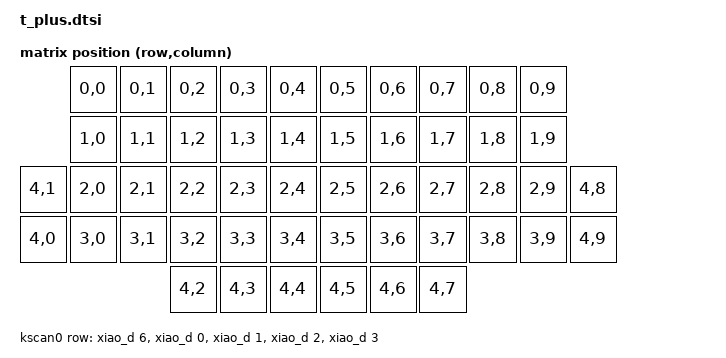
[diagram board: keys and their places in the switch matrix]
/*
 * Copyright (c) 2022 The ZMK Contributors
 *
 * SPDX-License-Identifier: MIT
 */

#include <dt-bindings/zmk/matrix_transform.h>
#include <zmk/physical_layout.h> // Add include for physical layout

/ {
    chosen {
		zmk,physical-layout = &default_layout;
		zmk,studio-rpc-uart = &uart1;
    };

    default_transform: keymap_transform_0 {
        compatible = "zmk,matrix-transform";
        columns = <10>;
        rows = <5>;
//      | SW00  | SW01  | SW02  | SW03  | SW04  |  | SW04  | SW03  | SW02  | SW01  | SW00  |
//             | SW05  | SW06  | SW07  | SW08  | SW09  |  | SW09  | SW08  | SW07  | SW06  | SW05  |
//             | SW10  | SW11  | SW12  | SW13  | SW14  |  | SW14  | SW13  | SW12  | SW11  | SW10  |
//      | SW20 | SW15  | SW16  | SW17  | SW18  | SW19  |  | SW19  | SW18  | SW17  | SW16  | SW15  | SW20  |
//                             | SW21  | SW22  | SW23  |  | SW23  | SW22  | SW21  |
        map = <
                RC(0,0) RC(0,1) RC(0,2) RC(0,3) RC(0,4)    RC(0,5) RC(0,6) RC(0,7) RC(0,8) RC(0,9)
                RC(1,0) RC(1,1) RC(1,2) RC(1,3) RC(1,4)    RC(1,5) RC(1,6) RC(1,7) RC(1,8) RC(1,9)
        RC(4,1) RC(2,0) RC(2,1) RC(2,2) RC(2,3) RC(2,4)    RC(2,5) RC(2,6) RC(2,7) RC(2,8) RC(2,9) RC(4,8)
        RC(4,0) RC(3,0) RC(3,1) RC(3,2) RC(3,3) RC(3,4)    RC(3,5) RC(3,6) RC(3,7) RC(3,8) RC(3,9) RC(4,9)
                                RC(4,2) RC(4,3) RC(4,4)    RC(4,5) RC(4,6) RC(4,7)
        >;
    };


    kscan0: kscan_0 {
        compatible = "zmk,kscan-gpio-matrix";
        label = "KSCAN";

        diode-direction = "col2row";
        row-gpios
            = <&xiao_d 6 (GPIO_ACTIVE_HIGH | GPIO_PULL_DOWN)>
            , <&xiao_d 0 (GPIO_ACTIVE_HIGH | GPIO_PULL_DOWN)>
            , <&xiao_d 1 (GPIO_ACTIVE_HIGH | GPIO_PULL_DOWN)>
            , <&xiao_d 2 (GPIO_ACTIVE_HIGH | GPIO_PULL_DOWN)>
            , <&xiao_d 3 (GPIO_ACTIVE_HIGH | GPIO_PULL_DOWN)>
            ;
    };

    default_layout: default_layout {
		compatible = "zmk,physical-layout";
		display-name = "Default";

		transform = <&default_transform>;
		kscan = <&kscan0>;

		keys = <
            K(100  0   100 100) K(200  0   100 100) K(300  0   100 100) K(400  0   100 100) K(500  0   100 100)   K(700  0   100 100) K(800  0   100 100) K(900  0   100 100) K(1000 0   100 100) K(1100 0   100 100) // Row 0 (RC0,0 to RC0,9)
            K(100  100 100 100) K(200  100 100 100) K(300  100 100 100) K(400  100 100 100) K(500  100 100 100)   K(700  100 100 100) K(800  100 100 100) K(900  100 100 100) K(1000 100 100 100) K(1100 100 100 100) // Row 1 (RC1,0 to RC1,9)
            K(0    200 100 100) K(100  200 100 100) K(200  200 100 100) K(300  200 100 100) K(400  200 100 100) K(500  200 100 100)   K(700  200 100 100) K(800  200 100 100) K(900  200 100 100) K(1000 200 100 100) K(1100 200 100 100) K(1200 200 100 100) // Row 2 + Outer Col (RC4,1 + RC2,0-9 + RC4,8)
            K(0    300 100 100) K(100  300 100 100) K(200  300 100 100) K(300  300 100 100) K(400  300 100 100) K(500  300 100 100)   K(700  300 100 100) K(800  300 100 100) K(900  300 100 100) K(1000 300 100 100) K(1100 300 100 100) K(1200 300 100 100) // Row 3 + Outer Col (RC4,0 + RC3,0-9 + RC4,9)
            /* Thumb Cluster - Assuming y=400 */                                           K(300  400 100 100) K(400  400 100 100) K(500  400 100 100)   K(700  400 100 100) K(800  400 100 100) K(900  400 100 100)                          // Row 4 (RC4,2 to RC4,7)
        >;
	};
};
